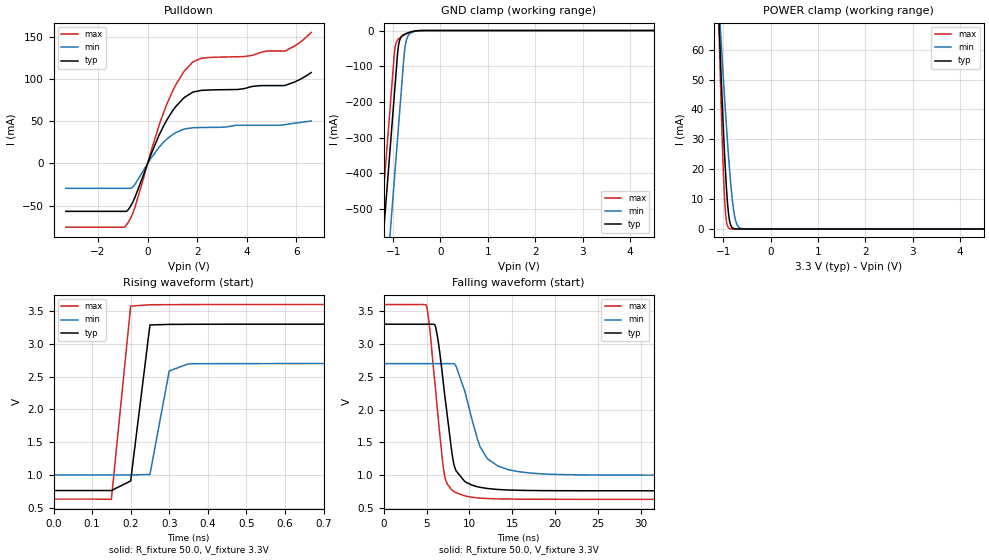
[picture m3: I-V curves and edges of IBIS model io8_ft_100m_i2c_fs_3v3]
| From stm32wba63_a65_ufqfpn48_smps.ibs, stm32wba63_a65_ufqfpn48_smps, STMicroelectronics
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[Model]   io8_ft_100m_i2c_fs_3v3
Model_type I/O_open_drain
Polarity   Non-Inverting
Enable   Active-Low
| CAP_THRESHOLD on pad IOFT is "UDTCAPC" :
| Rising=30.0% of vddiom   Falling=70.0% of vddiom
| C_comp min and max val. don't necessarily correlate with the min and max pvt
| but are the smallest and greatest pad capacitance found.
| var   typ   min   max
C_comp   3.81294pF  3.70667pF  3.87011pF
|C_comp_pulldown   3.81294pF  3.70667pF  3.87011pF
Vinl = 1.35V
Vinh = 1.8V
Vmeas = 1.65V   | Reference voltage for timing measurements
Cref  = 50.0pF   | Timing specification test load capacitance value
Rref  = 1.0MOhm   | Timing specification test load resistance value
Vref  = 1.815V   | Timing specification test load voltage
[Model Spec]
| TIME_THRESHOLD on pin ZII2CV11 is "CMOS" :
| Rising=50.0% of vdd   Falling=50.0% of vdd
Vinl 1.29050V 1.08050V 1.37650V
Vinh 1.79850V 1.52050V 1.90250V
| variable   typ   min   max
[Temperature Range] 25.0 140.0 -40.0
| variable   typ   min   max
[Voltage Range] 3.3V 2.7V 3.6V
| variable   typ   min   max
[POWER Clamp Reference] 3.3V 2.7V 3.6V
| variable   typ   min   max
[GND Clamp Reference] 0V 0V 0V
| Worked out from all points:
|   slope of the pulldown table from 0 to 0.495 V, typ, clamps not added: 14 ohm
|   GND clamp passes 1 mA (typ) near -0.51 V on its own axis
|   POWER clamp passes 1 mA (typ) near -0.83 V on its own axis
|   rising waveform, R_fixture 50.0, V_fixture 3.3V: 20-80 % time 32ps typ, 32.3ps min, 30.2ps max; typ from 0.764 V to 3.3 V
|   falling waveform, R_fixture 50.0, V_fixture 3.3V: 20-80 % time 1.43ns typ, 2.43ns min, 1.32ns max; typ from 3.3 V to 0.764 V
[POWER Clamp]
-3.3V     1.123A     753mA      1.645A
-1.09V    69.42mA    75.17mA    67.14mA
-1.08V    65.31mA    72.42mA    61.23mA
-1.06V    57.23mA    66.98mA    49.77mA
-1.01V    38.06mA    53.68mA    24.29mA
-970mV    24.36mA    43.46mA    9.575mA
-930mV    13.06mA    33.74mA    2.352mA
-870mV    3.065mA    20.56mA    165.9uA
-810mV    418.4uA    10.06mA    10.3uA
-760mV    69.41uA    4.321mA    1.009uA
-630mV    611.5nA    197uA      2.727nA
6.6V      0A         0A         0A
[GND Clamp]
-3.3V     -4.134A    -4.372A    -4.018A
-1.59V    -1.227A    -1.465A    -1.111A
-1.25V    -648.9mA   -886.9mA   -533mA
-980mV    -189.9mA   -427.9mA   -74mA
-960mV    -155.9mA   -393.9mA   -48.8mA
-910mV    -70.86mA   -308.9mA   -27.2mA
-880mV    -37.23mA   -257.9mA   -22.76mA
-770mV    -11.28mA   -71.59mA   -12.95mA
-730mV    -8.709mA   -32.74mA   -10.07mA
-630mV    -4.122mA   -6.943mA   -4.354mA
-370mV    -42.68uA   -212.2uA   -13.03uA
6.6V      2.311nA    506.4nA    1.057nA
| variable   typ   min   max
[Pullup Reference] 3.3V 2.7V 3.6V
| variable   typ   min   max
[Pulldown Reference] 0V 0V 0V
[Pulldown]
-3.3V     -56.7mA    -29.42mA   -75.36mA
-860mV    -56.67mA   -29.42mA   -72.94mA
-520mV    -40.69mA   -25.01mA   -52.64mA
460mV     33.25mA    19.09mA    44.92mA
800mV     52.54mA    29.36mA    71.75mA
1.14V     67.41mA    36.49mA    93.2mA
1.48V     77.97mA    40.67mA    109.3mA
1.83V     84.38mA    42.18mA    120.1mA
2.17V     86.37mA    42.45mA    124.3mA
3.88V     88.31mA    45.1mA     126.3mA
5.54V     92.28mA    45.89mA    133mA
6.6V      107.5mA    50.2mA     155mA
[Ramp]
dV/dt_r 1.52153V/251.09606ps 1.01893V/339.45043ps 1.77968V/235.86864ps
dV/dt_f 1.52157V/1.42762ns 1.019V/2.29966ns 1.77971V/1.31538ns
R_load = 50.0
| Removed startup time: 0s 0s 0s  .
| Removed end time: 900.0ps.
[Rising Waveform]
R_fixture   = 50.0
V_fixture   = 3.3V
V_fixture_min = 2.7V
V_fixture_max = 3.6V
0s        764mV      1.002V     633.8mV
150ps     764mV      1.002V     630.4mV
200ps     910.4mV    1.002V     3.576V
250ps     3.288V     1.009V     3.596V
300ps     3.297V     2.588V     3.598V
350ps     3.298V     2.695V     3.599V
900ps     3.3V       2.7V       3.6V
| Removed startup time: 0s 0s 0s  .
| Removed end time: 59.25ns.
[Falling Waveform]
R_fixture   = 50.0
V_fixture   = 3.3V
V_fixture_min = 2.7V
V_fixture_max = 3.6V
0s        3.3V       2.7V       3.6V
5ns       3.3V       2.7V       3.578V
5.4ns     3.301V     2.7V       3.207V
6.05ns    3.262V     2.7V       2.313V
7.05ns    2.303V     2.7V       1.044V
8ns       1.312V     2.699V     773.1mV
8.45ns    1.067V     2.66V      733.9mV
11.25ns   816.6mV    1.434V     652.7mV
14.5ns    776.1mV    1.087V     637.9mV
59.25ns   764mV      1.002V     633.8mV
